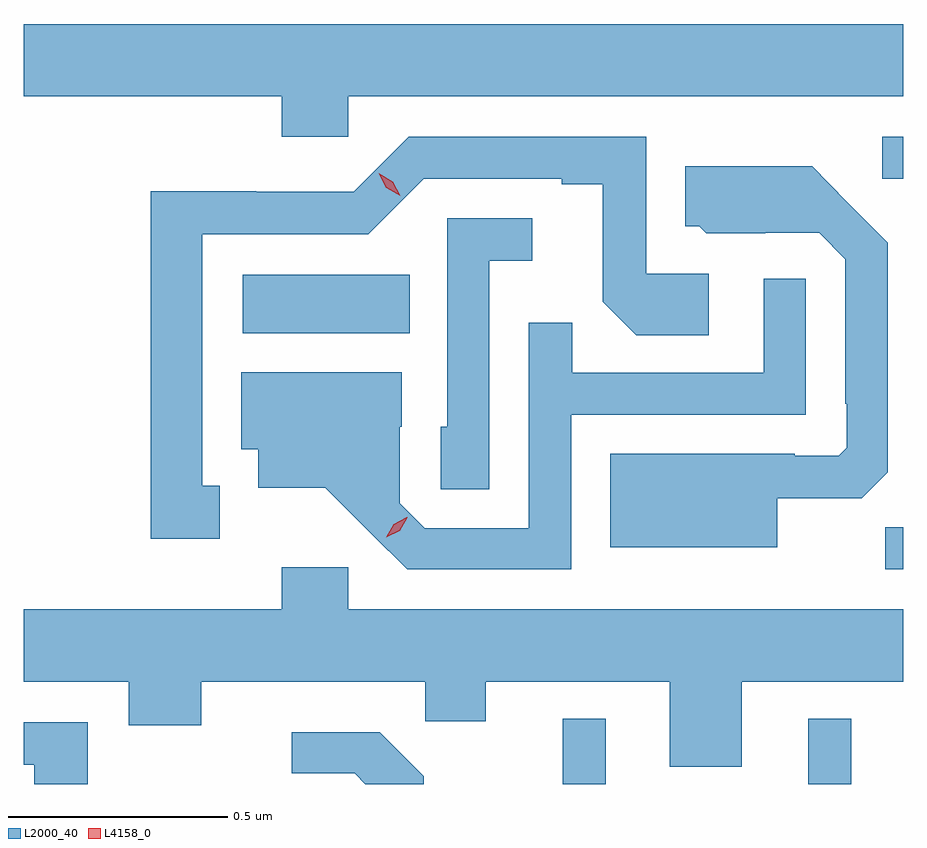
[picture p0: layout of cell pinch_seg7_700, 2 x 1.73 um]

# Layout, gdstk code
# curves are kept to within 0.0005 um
import gdstk
lib = gdstk.Library(unit=1e-6, precision=1e-09)
def R(c, l, rs):  # rectangles x0, y0, x1, y1
    for r in rs: c.add(gdstk.rectangle(r[:2], r[2:], *l))
def P(c, l, *ps):  # polygons
    for p in ps: c.add(gdstk.Polygon(p, *l))
L2000_40 = (2000, 40)
L4158_0 = (4158, 0)

pinch_seg7_700 = lib.new_cell('pinch_seg7_700')
R(pinch_seg7_700, L2000_40, [(159.194,1004.379,159.292,1004.527), (159.752,1004.379,159.85,1004.527), (159.928,1004.868,159.968,1004.963), (158.466,1005.404,158.846,1005.538), (159.921,1005.756,159.968,1005.852)])
P(pinch_seg7_700, L2000_40, [(158.706,1005.944),(159.968,1005.944),(159.968,1006.108),(157.968,1006.108),(157.968,1005.944),(158.555,1005.944),(158.555,1005.851),(158.706,1005.851)],
  [(158.413,1005.057),(158.374,1005.057),(158.374,1005.63),(158.751,1005.63),(158.877,1005.756),(159.191,1005.756),(159.191,1005.744),(159.285,1005.744),(159.285,1005.476),(159.361,1005.4),(159.526,1005.4),(159.526,1005.54),(159.384,1005.54),(159.384,1005.852),(158.844,1005.852),(158.718,1005.726),(158.496,1005.726),(158.496,1005.728),(158.256,1005.728),(158.256,1004.937),(158.413,1004.937)],
  [(159.682,1005.029),(159.874,1005.029),(159.933,1005.088),(159.933,1005.61),(159.761,1005.784),(159.473,1005.784),(159.473,1005.648),(159.504,1005.648),(159.52,1005.632),(159.654,1005.632),(159.654,1005.633),(159.777,1005.633),(159.837,1005.573),(159.837,1005.244),(159.84,1005.244),(159.84,1005.144),(159.822,1005.126),(159.722,1005.126),(159.722,1005.13),(159.302,1005.13),(159.302,1004.918),(159.682,1004.918)],
  [(159.027,1005.569),(159.124,1005.569),(159.124,1005.666),(158.931,1005.666),(158.931,1005.192),(158.916,1005.192),(158.916,1005.049),(159.027,1005.049)],
  [(159.213,1005.219),(159.747,1005.219),(159.747,1005.529),(159.651,1005.529),(159.651,1005.315),(159.215,1005.315),(159.215,1005.428),(159.117,1005.428),(159.117,1004.961),(158.88,1004.961),(158.823,1005.018),(158.823,1005.192),(158.827,1005.192),(158.827,1005.316),(158.462,1005.316),(158.462,1005.14),(158.501,1005.14),(158.501,1005.053),(158.653,1005.053),(158.84,1004.868),(159.213,1004.868)],
  [(159.601,1004.612),(159.968,1004.612),(159.968,1004.776),(158.706,1004.776),(158.706,1004.872),(158.555,1004.872),(158.555,1004.776),(157.968,1004.776),(157.968,1004.612),(158.207,1004.612),(158.207,1004.513),(158.371,1004.513),(158.371,1004.612),(158.881,1004.612),(158.881,1004.522),(159.019,1004.522),(159.019,1004.612),(159.437,1004.612),(159.437,1004.418),(159.601,1004.418)],
  [(158.113,1004.52),(157.968,1004.52),(157.968,1004.423),(157.992,1004.423),(157.992,1004.379),(158.113,1004.379)],
  [(158.877,1004.397),(158.777,1004.497),(158.577,1004.497),(158.577,1004.403),(158.721,1004.403),(158.745,1004.379),(158.877,1004.379)])
P(pinch_seg7_700, L4158_0, [(158.792,1004.94),(158.792,1004.94),(158.809,1004.97),(158.839,1004.986),(158.84,1004.986),(158.84,1004.985),(158.823,1004.955),(158.792,1004.94)],
  [(158.824,1005.717),(158.792,1005.735),(158.775,1005.768),(158.775,1005.768),(158.775,1005.768),(158.807,1005.749),(158.824,1005.717),(158.824,1005.717)])

lib.write_gds('pinch_seg7_700.gds')
